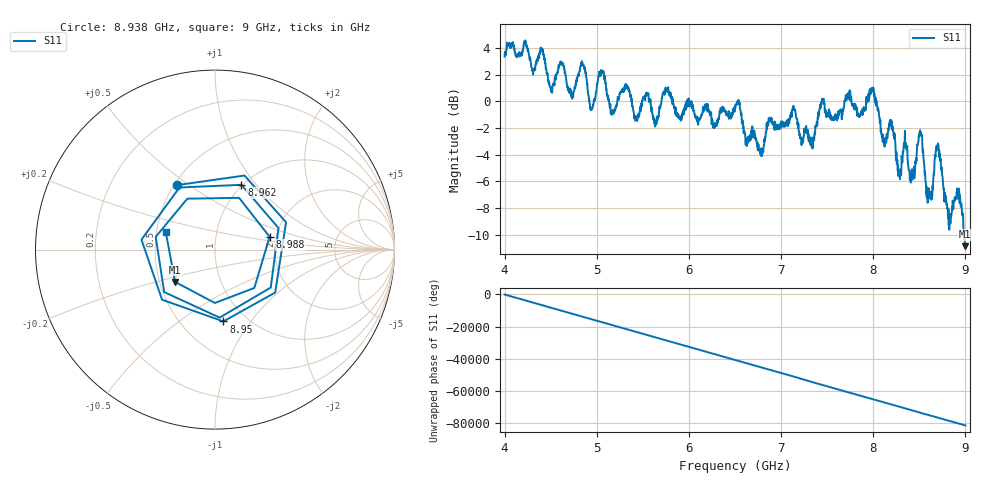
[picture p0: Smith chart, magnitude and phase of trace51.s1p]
! Created with skrf 1.8.0 (http://scikit-rf.org).
# Hz S RI R 50.0
!freq ReS11 ImS11
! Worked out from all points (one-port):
!   1601 points, 4 GHz to 9 GHz, reference 50 ohm
!   lowest |S11| = -10.9 dB at 8.997 GHz (marker M1), VSWR 1.80, Z = 30.1 - j11.8 ohm
!   |S11| at or under -10 dB: 8.985353 GHz to end of sweep
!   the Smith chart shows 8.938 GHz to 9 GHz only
!   S11 on the Smith chart (normalised r, x): 8.938 GHz: 0.52, +0.45; 8.95 GHz: 0.78, -0.75; 8.962 GHz: 0.99, +0.84; 8.988 GHz: 1.85, +0.29; 9 GHz: 0.56, +0.12
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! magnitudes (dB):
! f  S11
! 4 GHz  3.4
! 4.625 GHz  2.9
! 4.725 GHz  0.3
! 4.85 GHz  2.8
! 4.941 GHz  -0.7
! 5.05 GHz  2.1
! 5.162 GHz  -1.0
! 5.25 GHz  0.6
! 5.875 GHz  -0.9
! 6.5 GHz  -0.3
! 6.784 GHz  -3.5
! 7.125 GHz  -0.6
! 7.334 GHz  -3.2
! 7.444 GHz  0.2
! 7.75 GHz  0.7
! 7.988 GHz  0.8
! 8.281 GHz  -5.6
! 8.375 GHz  -4.5
! 8.509 GHz  -2.2
! 8.6 GHz  -6.8
! 8.697 GHz  -3.4
! 8.822 GHz  -8.8
! 8.938 GHz  -7.6
! 8.95 GHz  -7.9
! 8.962 GHz  -8.2
! 8.988 GHz  -10.1
! 8.997 GHz  -10.9
! 9 GHz  -10.7
